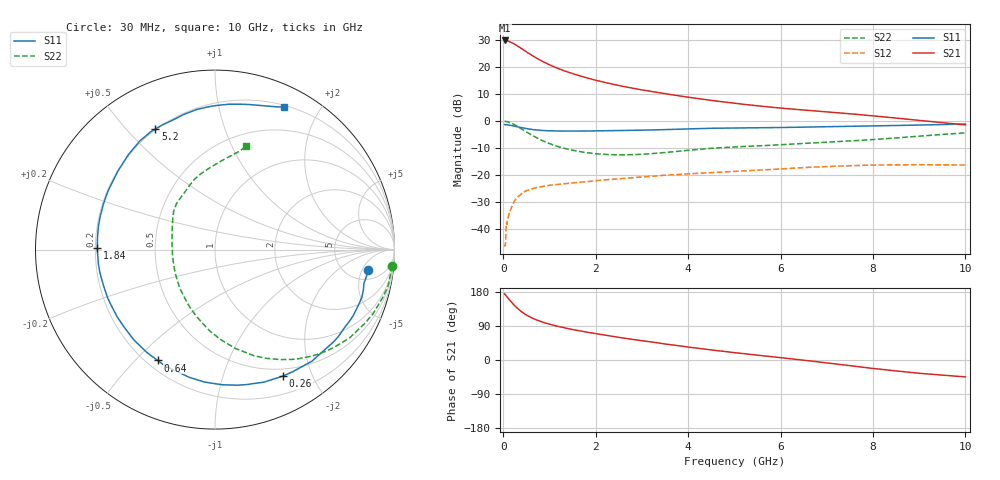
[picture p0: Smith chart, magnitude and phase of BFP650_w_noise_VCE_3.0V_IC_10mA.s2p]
! Infineon Technologies  Discrete & RF Semiconductors
! BFP650
! VCE =  3.0 V,  IC =  10 mA
! Common Emitter S-Parameters:  Jan 2016
# GHz  S  MA  R  50
!  f  S11  S21  S12  S22
! GHz  MAG  ANG  MAG  ANG  MAG  ANG  MAG  ANG
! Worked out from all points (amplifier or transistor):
!   229 points, 30 MHz to 10 GHz, reference 50 ohm
!   highest |S21| = 29.8 dB at 40 MHz (marker M1)
!   |S21| within 3 dB of that: start of sweep to 395.6 MHz
!   unconditionally stable (mu >= 1): 3.347 GHz to end of sweep
!   at 280 MHz: K = 0.12, MSG = 28.4 dB, |S12| = -28.7 dB
!   at 1.78 GHz: K = 0.72, MSG = 19.3 dB, |S12| = -22.4 dB
!   at 10 GHz: K = 1.06, MAG = 5.9 dB, |S12| = -16.2 dB
!   lowest NFmin = 0.58 dB at 450 MHz
!   S11 on the Smith chart (normalised r, x): 30 MHz: 8, -7; 260 MHz: 0.41, -1.60; 640 MHz: 0.24, -0.58; 1.84 GHz: 0.21, +0.01; 5.2 GHz: 0.20, +0.60; 10 GHz: 0.22, +1.57
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0.03  0.8623 -7.5  30.55 174.7  0.0052 84.4  0.9921 -5.2
0.04  0.8561 -10.4  30.73 173.0  0.0049 74.9  0.9893 -7.1
0.1  0.8535 -25.5  30.08 163.9  0.0145 78.9  0.9662 -17.3
0.14  0.8406 -35.2  29.16 158.0  0.0221 72.2  0.9403 -23.9
0.2  0.8235 -49.0  27.62 149.5  0.0278 67.7  0.8964 -33.4
0.26  0.7998 -61.7  25.87 141.8  0.0352 60.3  0.8404 -42.2
0.34  0.7721 -77.0  23.38 132.9  0.0414 54.0  0.7662 -52.5
0.45  0.7402 -94.6  20.27 122.7  0.0491 46.9  0.6701 -64.7
0.5  0.7259 -101.4  18.97 118.8  0.0516 44.5  0.6313 -69.7
0.64  0.6953 -117.3  15.94 110.1  0.0565 38.9  0.5366 -81.4
0.8  0.6765 -131.9  13.28 101.9  0.0606 34.4  0.4556 -93.5
1  0.6614 -145.5  10.92 94.5  0.0651 31.1  0.3838 -106.0
1.3  0.6531 -160.8  8.574 85.6  0.0692 27.7  0.3165 -122.7
1.7  0.6542 -176.2  6.652 75.9  0.0748 25.3  0.2684 -142.1
1.84  0.6557 179.1  6.16 72.8  0.0766 25.1  0.2586 -148.3
2.6  0.6702 159.3  4.351 57.9  0.0871 21.3  0.2385 -178.3
3.4  0.6911 142.9  3.3 44.2  0.0984 17.5  0.2578 157.9
5.1  0.7487 117.4  2.083 18.2  0.1185 7.9  0.3362 128.7
5.2  0.7497 116.3  2.038 16.9  0.1198 7.3  0.3388 127.3
6.8  0.7805 99.7  1.528 -4.7  0.1422 -3.7  0.3987 108.3
8.4  0.8241 79.3  1.156 -27.6  0.1549 -18.0  0.4806 88.7
10  0.8812 64.3  0.851 -44.5  0.1543 -29.2  0.603 73.3
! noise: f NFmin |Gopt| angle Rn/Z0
0.45  0.58  0.09  70  0.61
0.9  0.59  0.12  117  0.4
1.9  0.8  0.26  160  0.06
2.4  0.9  0.27  172  0.06
3.5  1.22  0.31  -137  0.22
